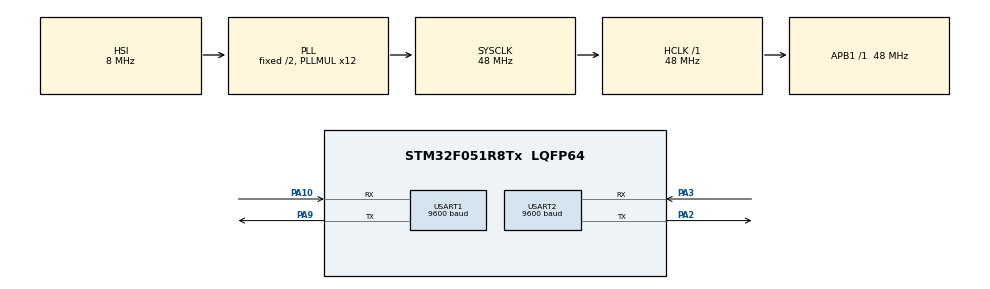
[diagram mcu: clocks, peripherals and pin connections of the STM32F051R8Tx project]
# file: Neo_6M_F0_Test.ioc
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Mcu.Family=STM32F0
Mcu.Name=STM32F051R8Tx
Mcu.Package=LQFP64
PA10.Mode=Asynchronous
PA10.Signal=USART1_RX
PA2.Mode=Asynchronous
PA2.Signal=USART2_TX
PA3.Mode=Asynchronous
PA3.Signal=USART2_RX
PA9.Mode=Asynchronous
PA9.Signal=USART1_TX
ProjectManager.HeapSize=0x200
ProjectManager.StackSize=0x400
ProjectManager.TargetToolchain=STM32CubeIDE
RCC.AHBFreq_Value=48000000
RCC.APB1Freq_Value=48000000
RCC.APB1TimFreq_Value=48000000
RCC.HCLKFreq_Value=48000000
RCC.PLLMUL=RCC_PLL_MUL12
RCC.SYSCLKFreq_VALUE=48000000
RCC.SYSCLKSource=RCC_SYSCLKSOURCE_PLLCLK
USART1.BaudRate=9600
USART1.VirtualMode-Asynchronous=VM_ASYNC
USART2.BaudRate=9600
USART2.VirtualMode-Asynchronous=VM_ASYNC
board=STM32F0DISCOVERY

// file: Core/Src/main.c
/* USER CODE BEGIN Header */
/**
  ******************************************************************************
  * @file           : main.c
  * @brief          : Main program body
  ******************************************************************************
  * @attention
  *
  * Copyright (c) 2024 STMicroelectronics.
  * All rights reserved.
  *
  * This software is licensed under terms that can be found in the LICENSE file
  * in the root directory of this software component.
  * If no LICENSE file comes with this software, it is provided AS-IS.
  *
  ******************************************************************************
  */
/* USER CODE END Header */
#include "main.h"

/* USER CODE BEGIN Includes */
#include <stdio.h>
#include <string.h>
/* USER CODE END Includes */

UART_HandleTypeDef huart1;
UART_HandleTypeDef huart2;

/* USER CODE BEGIN PV */
char Rx_Buff[200];
uint8_t Gps_Data[80];
/* USER CODE END PV */

void SystemClock_Config(void);
static void MX_GPIO_Init(void);
static void MX_USART1_UART_Init(void);
static void MX_USART2_UART_Init(void);
/* USER CODE BEGIN PFP */
#ifdef __GNUC__
#define PUTCHAR_PROTOTYPE int __io_putchar(int ch)
#else
#define PUTCHAR_PROTOTYPE int fputc(int ch, FILE *f)
#endif

PUTCHAR_PROTOTYPE
{
  HAL_UART_Transmit(&huart2, (uint8_t *)&ch, 1, HAL_MAX_DELAY);
  return ch;
}
void decodeGGA(char *sentence);
/* USER CODE END PFP */

int main(void)
{

  /* MCU Configuration--------------------------------------------------------*/

  /* Reset of all peripherals, Initializes the Flash interface and the Systick. */
  HAL_Init();

  /* Configure the system clock */
  SystemClock_Config();

  /* Initialize all configured peripherals */
  MX_GPIO_Init();
  MX_USART1_UART_Init();
  MX_USART2_UART_Init();
  /* USER CODE BEGIN 2 */
  printf("Test\r\n");
  uint8_t status;
  uint8_t idx = 0;
  uint8_t Rx_byte = 0;
  /* USER CODE END 2 */

  /* Infinite loop */
  /* USER CODE BEGIN WHILE */
  while (1)
  {

	  status = HAL_UART_Receive(&huart1, &Rx_byte, 1, 100);

	  if(status == HAL_OK)
	  {
		  if(Rx_byte == '$')
		  {
			  idx = 0;
			  memset(Rx_Buff,0,sizeof(Rx_Buff));
		  }

		  Rx_Buff[idx++] = Rx_byte;

		  if(Rx_byte == '\n')
		  {
			  if (strstr(Rx_Buff, "$GPGGA") != NULL)
			  {
				  decodeGGA(Rx_Buff);
			  }
		  }
	  }
//	HAL_Delay(1);
    /* USER CODE END WHILE */

  }
}

void SystemClock_Config(void)
{
  RCC_OscInitTypeDef RCC_OscInitStruct = {0};
  RCC_ClkInitTypeDef RCC_ClkInitStruct = {0};
  RCC_PeriphCLKInitTypeDef PeriphClkInit = {0};

  /** Initializes the RCC Oscillators according to the specified parameters
  * in the RCC_OscInitTypeDef structure.
  */
  RCC_OscInitStruct.OscillatorType = RCC_OSCILLATORTYPE_HSI;
  RCC_OscInitStruct.HSIState = RCC_HSI_ON;
  RCC_OscInitStruct.HSICalibrationValue = RCC_HSICALIBRATION_DEFAULT;
  RCC_OscInitStruct.PLL.PLLState = RCC_PLL_ON;
  RCC_OscInitStruct.PLL.PLLSource = RCC_PLLSOURCE_HSI;
  RCC_OscInitStruct.PLL.PLLMUL = RCC_PLL_MUL12;
  RCC_OscInitStruct.PLL.PREDIV = RCC_PREDIV_DIV1;
  if (HAL_RCC_OscConfig(&RCC_OscInitStruct) != HAL_OK)
  {
    Error_Handler();
  }

  /** Initializes the CPU, AHB and APB buses clocks
  */
  RCC_ClkInitStruct.ClockType = RCC_CLOCKTYPE_HCLK|RCC_CLOCKTYPE_SYSCLK
                              |RCC_CLOCKTYPE_PCLK1;
  RCC_ClkInitStruct.SYSCLKSource = RCC_SYSCLKSOURCE_PLLCLK;
  RCC_ClkInitStruct.AHBCLKDivider = RCC_SYSCLK_DIV1;
  RCC_ClkInitStruct.APB1CLKDivider = RCC_HCLK_DIV1;

  if (HAL_RCC_ClockConfig(&RCC_ClkInitStruct, FLASH_LATENCY_1) != HAL_OK)
  {
    Error_Handler();
  }
  PeriphClkInit.PeriphClockSelection = RCC_PERIPHCLK_USART1;
  PeriphClkInit.Usart1ClockSelection = RCC_USART1CLKSOURCE_PCLK1;
  if (HAL_RCCEx_PeriphCLKConfig(&PeriphClkInit) != HAL_OK)
  {
    Error_Handler();
  }
}

static void MX_USART1_UART_Init(void)
{

  huart1.Instance = USART1;
  huart1.Init.BaudRate = 9600;
  huart1.Init.WordLength = UART_WORDLENGTH_8B;
  huart1.Init.StopBits = UART_STOPBITS_1;
  huart1.Init.Parity = UART_PARITY_NONE;
  huart1.Init.Mode = UART_MODE_TX_RX;
  huart1.Init.HwFlowCtl = UART_HWCONTROL_NONE;
  huart1.Init.OverSampling = UART_OVERSAMPLING_16;
  huart1.Init.OneBitSampling = UART_ONE_BIT_SAMPLE_ENABLE;
  huart1.AdvancedInit.AdvFeatureInit = UART_ADVFEATURE_NO_INIT;
  if (HAL_UART_Init(&huart1) != HAL_OK)
  {
    Error_Handler();
  }

}

static void MX_USART2_UART_Init(void)
{

  huart2.Instance = USART2;
  huart2.Init.BaudRate = 115200;
  huart2.Init.WordLength = UART_WORDLENGTH_8B;
  huart2.Init.StopBits = UART_STOPBITS_1;
  huart2.Init.Parity = UART_PARITY_NONE;
  huart2.Init.Mode = UART_MODE_TX_RX;
  huart2.Init.HwFlowCtl = UART_HWCONTROL_NONE;
  huart2.Init.OverSampling = UART_OVERSAMPLING_16;
  huart2.Init.OneBitSampling = UART_ONE_BIT_SAMPLE_DISABLE;
  huart2.AdvancedInit.AdvFeatureInit = UART_ADVFEATURE_NO_INIT;
  if (HAL_UART_Init(&huart2) != HAL_OK)
  {
    Error_Handler();
  }

}

static void MX_GPIO_Init(void)
{

  /* GPIO Ports Clock Enable */
  __HAL_RCC_GPIOA_CLK_ENABLE();

}

/* USER CODE BEGIN 4 */
void decodeGGA(char *sentence) {
    char *token;
    token = strtok(sentence, ",");
    int index = 1;
    while (token != NULL) {
        if (index == 3) { // Latitude
            printf("Latitude: %s\n", token);
        } else if (index == 5) { // Longitude
            printf("Longitude: %s\n", token);
        }
        token = strtok(NULL, ",");
        index++;
    }
}
/* USER CODE END 4 */

void Error_Handler(void)
{
  __disable_irq();
  while (1)
  {
  }
}
